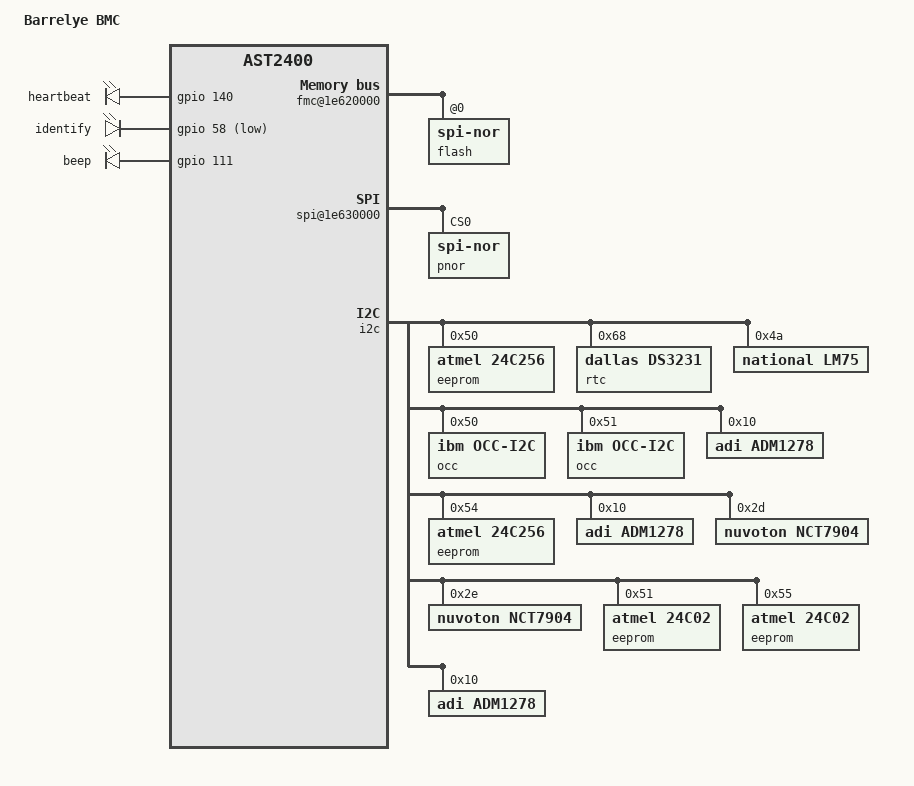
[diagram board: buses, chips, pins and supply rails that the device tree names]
/dts-v1/;

#include "ast2400.dtsi"
#include <dt-bindings/gpio/gpio.h>

/ {
	model = "Barrelye BMC";
	compatible = "rackspace,barreleye-bmc", "aspeed,ast2400";
	ahb {
		mac0: ethernet@1e660000 {
			use-nc-si;
			no-hw-checksum;
		};

		fmc@1e620000 {
			reg = < 0x1e620000 0x94
				0x20000000 0x02000000 >;
			#address-cells = <1>;
			#size-cells = <0>;
			compatible = "aspeed,fmc";
			flash@0 {
				reg = < 0 >;
				compatible = "jedec,spi-nor" ;
				/*
				 * Possibly required props:
				 * spi-max-frequency = <>
				 * spi-tx-bus-width = <>
				 * spi-rx-bus-width  = <>
				 * m25p,fast-read
				 * spi-cpol if inverse clock polarity (CPOL)
				 * spi-cpha if shifted clock phase (CPHA)
				 */
#include "aspeed-bmc-opp-flash-layout.dtsi"
			};
		};
		spi@1e630000 {
			reg = < 0x1e630000 0x18
				0x30000000 0x02000000 >;
			#address-cells = <1>;
			#size-cells = <0>;
			compatible = "aspeed,smc";
			flash {
				reg = < 0 >;
				compatible = "jedec,spi-nor" ;
				label = "pnor";
				/* spi-max-frequency = <>; */
				/* m25p,fast-read; */
			};
		};
		apb {
			i2c: i2c@1e78a040 {
				i2c0: i2c-bus@40 {
					eeprom@50 {
						compatible = "atmel,24c256";
						reg = <0x50>;
						pagesize = <64>;
					};
					rtc@68 {
						compatible = "dallas,ds3231";
						reg = <0x68>;
						// interrupts = <GPIOF0>
					};
					lm75@4a {
						compatible = "national,lm75";
						reg = <0x4a>;
					};
				};
				i2c3: i2c-bus@100 {
					occ@50 {
						compatible = "ibm,occ-i2c";
						reg = <0x50>;
					};
					occ@51 {
						compatible = "ibm,occ-i2c";
						reg = <0x51>;
					};
				};
				i2c4: i2c-bus@140 {
					adm1278@10 {
						// P12V_a for CPU0
						compatible = "adi,adm1278";
						reg = <0x10>;
						sense-resistor = <500>;
					};
					eeprom@54 {
						compatible = "atmel,24c256";
						reg = <0x54>;
						pagesize = <64>;
					};
				};
				i2c5: i2c-bus@180 {
					adm1278@10 {
						// P12V_b for CPU1
						compatible = "adi,adm1278";
						reg = <0x10>;
						sense-resistor = <500>;
					};
				};
				i2c6: i2c-bus@1c0 {
					nct7904@2d {
						compatible = "nuvoton,nct7904";
						reg = <0x2d>;
					};
					nct7904@2e {
						compatible = "nuvoton,nct7904";
						reg = <0x2e>;
					};
					eeprom@51 {
						compatible = "atmel,24c02";
						reg = <0x51>;
						pagesize = <8>;
					};
					eeprom@55 {
						compatible = "atmel,24c02";
						reg = <0x55>;
						pagesize = <8>;
					};
					adm1278@10 {
						// P12V_c for HDD and IO board
						compatible = "adi,adm1278";
						reg = <0x10>;
						sense-resistor = <500>;
					};
				};
			};
		};
	};


	leds {
		compatible = "gpio-leds";

		heartbeat {
			gpios = <&gpio 140 GPIO_ACTIVE_HIGH>;
		};
		identify {
			gpios = <&gpio 58 GPIO_ACTIVE_LOW>;
		};
		beep {
			gpios = <&gpio 111 GPIO_ACTIVE_HIGH>;
		};
	};
};

